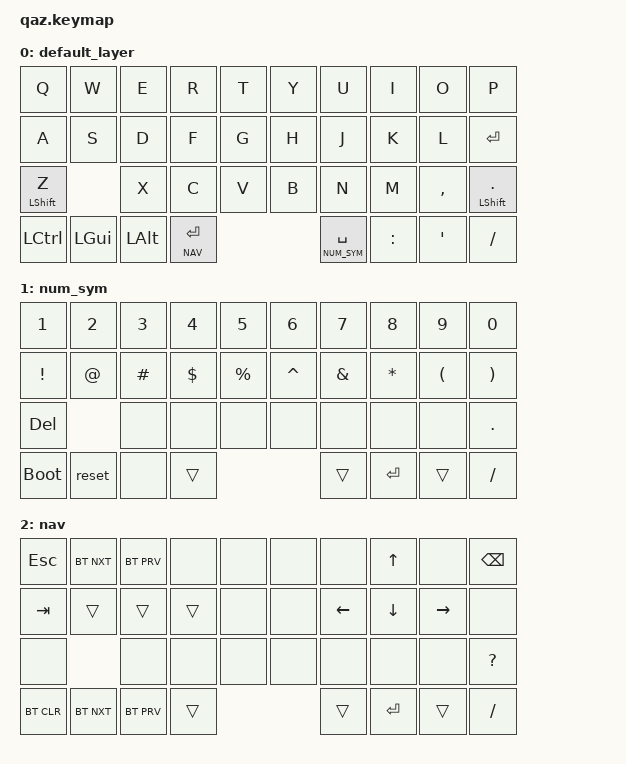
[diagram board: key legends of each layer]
/*
 * Copyright (c) 2020 The ZMK Contributors
 *
 * SPDX-License-Identifier: MIT
 */

#include <behaviors.dtsi>
#include <dt-bindings/zmk/keys.h>
#include <dt-bindings/zmk/bt.h>

#define DEFAULT 0
#define NUM_SYM 1
#define NAV     2

/ {
    behaviors {
        hm: homerow_mods {
            compatible = "zmk,behavior-hold-tap";
            label = "homerow mods";
            #binding-cells = <2>;
            tapping_term_ms = <225>;
            flavor = "tap-preferred";
            bindings = <&kp>, <&kp>;
        };
    };
};

/ {
    keymap {
        compatible = "zmk,keymap";

        default_layer {
            bindings = <
    &kp Q      &kp W      &kp E       &kp R       &kp T  &kp Y  &kp U       &kp I       &kp O      &kp P
    &kp A &kp S &kp D &kp F &kp G  &kp H  &kp J &kp K &kp L &kp RET
    &hm LSHFT Z                 &kp X       &kp C       &kp V  &kp B  &kp N       &kp M       &kp COMMA  &hm LSHFT DOT
    &kp LCTRL  &kp LGUI   &kp LALT       &lt NAV RET    &lt NUM_SYM SPACE   &kp COLON   &kp SQT    &kp FSLH
            >;
        };
        num_sym {
            bindings = <
    &kp N1     &kp N2     &kp N3     &kp N4     &kp N5 &kp N6 &kp N7     &kp N8      &kp N9    &kp N0
    &kp EXCL     &kp AT     &kp POUND     &kp DLLR     &kp PRCNT &kp CARET &kp AMPS     &kp STAR      &kp LPAR &kp RPAR
    &kp DEL               &none      &none      &none  &none  &none      &none       &none     &kp DOT
    &bootloader &reset    &none         &trans        &trans             &kp RET     &trans    &kp FSLH
            >;
        };

    nav {
            bindings = <
    &kp ESC &bt BT_NXT &bt BT_PRV &none       &none &none &none       &kp UP       &none     &kp BSPC
    &kp TAB     &trans     &trans     &trans      &none &none &kp LEFT    &kp DOWN     &kp RIGHT &none
    &none                 &none      &none       &none &none &none       &none        &none     &kp QMARK
    &bt BT_CLR      &bt BT_NXT      &bt BT_PRV         &trans        &trans             &kp RET      &trans    &kp FSLH
            >;
        };
    };
};
